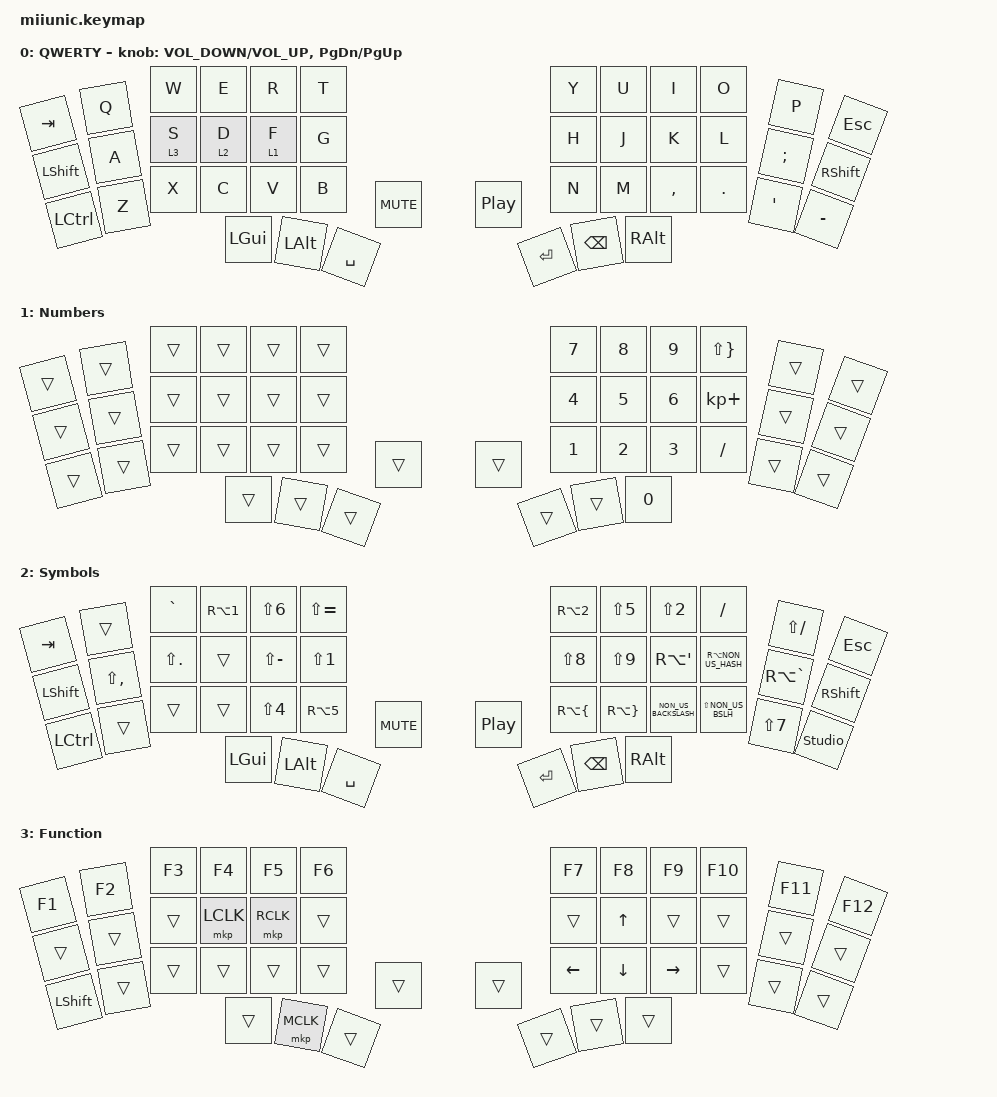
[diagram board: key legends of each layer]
#include <behaviors.dtsi>
#include <dt-bindings/zmk/keys.h>
#include <dt-bindings/zmk/pointing.h>

/ {
    keymap {
        compatible = "zmk,keymap";

        Default_layer {
            display-name = "QWERTY";
            bindings = <
&kp TAB           &kp Q  &kp W    &kp E         &kp R         &kp T                            &kp Y       &kp U          &kp I      &kp O    &kp P           &kp ESCAPE
&kp LSHFT         &kp A  &lt 3 S  &lt 2 D       &lt 1 F       &kp G                            &kp H       &kp J          &kp K      &kp L    &kp SEMI        &kp RSHFT
&kp LEFT_CONTROL  &kp Z  &kp X    &kp C         &kp V         &kp B                            &kp N       &kp M          &kp COMMA  &kp DOT  &kp APOSTROPHE  &kp MINUS
                                  &kp LEFT_GUI  &kp LEFT_ALT  &kp SPACE  &kp C_MUTE  &kp C_PP  &kp RETURN  &kp BACKSPACE  &kp RALT
            >;

            sensor-bindings =
                <&inc_dec_kp C_VOLUME_DOWN C_VOLUME_UP>,
                <&inc_dec_kp PG_DN PG_UP>;
        };

        Num_layer {
            display-name = "Numbers";
            bindings = <
&trans  &trans  &trans  &trans  &trans  &trans                  &kp N7  &kp N8  &kp N9  &kp LS(RIGHT_BRACE)  &trans  &trans
&trans  &trans  &trans  &trans  &trans  &trans                  &kp N4  &kp N5  &kp N6  &kp KP_PLUS          &trans  &trans
&trans  &trans  &trans  &trans  &trans  &trans                  &kp N1  &kp N2  &kp N3  &kp SLASH            &trans  &trans
                        &trans  &trans  &trans  &trans  &trans  &trans  &trans  &kp N0
            >;
        };

        Symbols {
            display-name = "Symbols";
            bindings = <
&kp TAB         &trans         &kp GRAVE       &kp RA(N1)    &kp LS(N6)     &kp LS(EQUAL)                        &kp RA(NUMBER_2)    &kp LS(N5)           &kp LS(N2)            &kp SLASH            &kp LS(SLASH)  &kp ESCAPE
&kp LEFT_SHIFT  &kp LS(COMMA)  &kp LS(PERIOD)  &trans        &kp LS(MINUS)  &kp LS(N1)                           &kp LS(N8)          &kp LS(N9)           &kp RA(APOS)          &kp RA(NON_US_HASH)  &kp RA(GRAVE)  &kp RSHFT
&kp LCTRL       &trans         &trans          &trans        &kp LS(N4)     &kp RA(N5)                           &kp RA(LEFT_BRACE)  &kp RA(RIGHT_BRACE)  &kp NON_US_BACKSLASH  &kp LS(NON_US_BSLH)  &kp LS(N7)     &studio_unlock
                                               &kp LEFT_GUI  &kp LALT       &kp SPACE      &kp C_MUTE  &kp C_PP  &kp RETURN          &kp BACKSPACE        &kp RALT
            >;
        };

        Functions {
            display-name = "Function";
            bindings = <
&kp F1          &kp F2  &kp F3  &kp F4     &kp F5     &kp F6                  &kp F7          &kp F8          &kp F9           &kp F10  &kp F11  &kp F12
&trans          &trans  &trans  &mkp LCLK  &mkp RCLK  &trans                  &trans          &kp UP_ARROW    &trans           &trans   &trans   &trans
&kp LEFT_SHIFT  &trans  &trans  &trans     &trans     &trans                  &kp LEFT_ARROW  &kp DOWN_ARROW  &kp RIGHT_ARROW  &trans   &trans   &trans
                                &trans     &mkp MCLK  &trans  &trans  &trans  &trans          &trans          &trans
            >;
        };
    };
};
